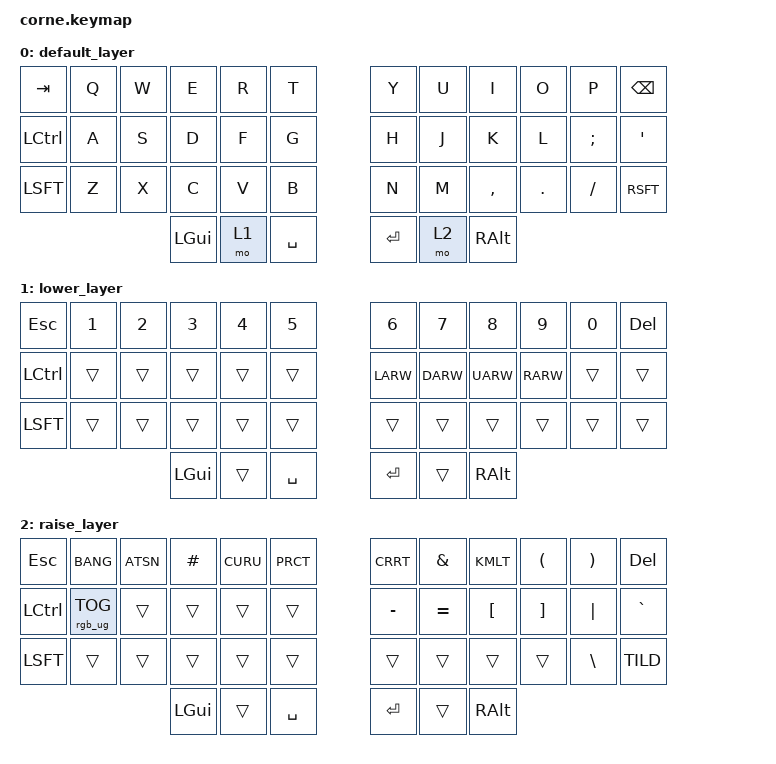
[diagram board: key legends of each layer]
#include <behaviors.dtsi>
#include <dt-bindings/zmk/keys.h>
#include <dt-bindings/zmk/rgb.h>

/ {
        keymap {
                compatible = "zmk,keymap";

                default_layer {
// -----------------------------------------------------------------------------------------
// |  TAB |  Q  |  W  |  E  |  R  |  T  |   |  Y  |  U   |  I  |  O  |  P  | BKSP |
// | CTRL |  A  |  S  |  D  |  F  |  G  |   |  H  |  J   |  K  |  L  |  ;  |  '   |
// | SHFT |  Z  |  X  |  C  |  V  |  B  |   |  N  |  M   |  ,  |  .  |  /  | SHFT |
//                    | GUI | LWR | SPC |   | ENT | RSE  | ALT |
                        bindings = <
   &kp TAB  &kp Q &kp W &kp E &kp R &kp T   &kp Y &kp U  &kp I    &kp O   &kp P    &kp BKSP
   &kp LCTL &kp A &kp S &kp D &kp F &kp G   &kp H &kp J  &kp K    &kp L   &kp SCLN &kp QUOT
   &kp LSFT &kp Z &kp X &kp C &kp V &kp B   &kp N &kp M  &kp CMMA &kp DOT &kp FSLH &kp RSFT
                   &kp LGUI &mo 1 &kp SPC   &kp RET &mo 2 &kp RALT
                        >;
                };
                lower_layer {
// -----------------------------------------------------------------------------------------
// |  ESC |  1  |  2  |  3  |  4  |  5  |   |  6  |  7  |  8  |  9  |  0  |  DEL |
// | CTRL |     |     |     |     |     |   | LFT | DWN |  UP | RGT |     |      |
// | SHFT |     |     |     |     |     |   |     |     |     |     |     |      |
//                    | GUI |     | SPC |   | ENT |     | ALT |
                        bindings = <
   &kp ESC  &kp NUM_1 &kp NUM_2 &kp NUM_3 &kp NUM_4 &kp NUM_5   &kp NUM_6 &kp NUM_7 &kp NUM_8 &kp NUM_9 &kp NUM_0 &kp DEL
   &kp LCTL &trans    &trans    &trans    &trans    &trans      &kp LARW  &kp DARW  &kp UARW  &kp RARW  &trans    &trans
   &kp LSFT &trans    &trans    &trans    &trans    &trans      &trans    &trans    &trans    &trans    &trans    &trans
                                      &kp LGUI &trans &kp SPC   &kp RET &trans &kp RALT
                        >;
                };

                raise_layer {
// -----------------------------------------------------------------------------------------
// |  ESC |  !  |  @  |  #  |  $  |  %  |   |  ^  |  &  |  *  |  (  |  )  |  DEL |
// | CTRL |     |     |     |     |     |   |  -  |  =  |  {  |  }  | "|" |  `   |
// | SHFT |     |     |     |     |     |   |  _  |  +  |  [  |  ]  |  \  |  ~   | // TODO: Fix this row when &mkp is committed
//                    | GUI |     | SPC |   | ENT |     | ALT |
                        bindings = <
   &kp  ESC &kp BANG  &kp ATSN  &kp HASH  &kp CURU  &kp PRCT    &kp CRRT  &kp AMPS &kp KMLT &kp LPRN &kp RPRN &kp DEL
   &kp LCTL &rgb_ug RGB_TOG    &trans    &trans    &trans    &trans      &kp MINUS &kp EQL  &kp LBKT &kp RBKT &kp PIPE &kp GRAV
   &kp LSFT &trans    &trans    &trans    &trans    &trans      &trans    &trans   &trans   &trans   &kp BSLH &kp TILD
                                      &kp LGUI &trans &kp SPC   &kp RET &trans &kp RALT
                        >;
                };
        };
};

